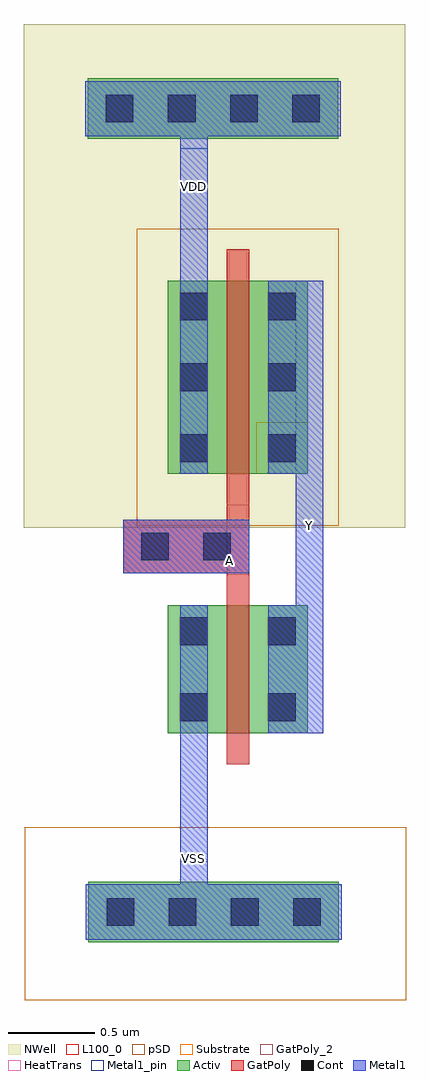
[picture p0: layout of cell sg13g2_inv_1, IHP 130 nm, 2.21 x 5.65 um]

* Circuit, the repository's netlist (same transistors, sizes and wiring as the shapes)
** sch_path: /opt/pdks/ihp-sg13g2/libs.tech/xschem/sg13g2_stdcells/sg13g2_inv_1.sch
.subckt sg13g2_inv_1 Y A VDD VSS

*.PININFO Y:O A:I VDD:B VSS:B
MN0 Y A VSS VSS sg13_lv_nmos w=740.00n l=130.00n ng=1 m=1
MP0 Y A VDD VDD sg13_lv_pmos w=1.12u l=130.00n ng=1 m=1
.ends

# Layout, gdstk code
import gdstk
lib = gdstk.Library(unit=1e-6, precision=1e-09)
def R(c, l, rs):  # rectangles x0, y0, x1, y1
    for r in rs: c.add(gdstk.rectangle(r[:2], r[2:], *l))
def A(c, l, x, y, w, h, nx, ny, dx, dy):  # array of equal rectangles
    R(c, l, [(x+i*dx, y+j*dy, x+i*dx+w, y+j*dy+h) for i in range(nx) for j in range(ny)])
Activ = (1, 0)
GatPoly = (5, 0)
GatPoly_2 = (5, 2)
Cont = (6, 0)
Metal1 = (8, 0)
Metal1_pin = (8, 2)
pSD = (14, 0)
NWell = (31, 0)
Substrate = (40, 0)
HeatTrans = (51, 0)
L100_0 = (100, 0)

pmos = lib.new_cell('pmos')
R(pmos, Activ, [(0,0,0.3,0.3), (0,0,0.81,1.12), (0.51,0,0.81,0.3)])
R(pmos, GatPoly, [(0.34,-0.18,0.47,1.3), (0.34,-0.18,0.47,1.3)])
A(pmos, Cont, 0.07, 0.07, 0.16, 0.16, 1, 3, 0, 0.41)
A(pmos, Cont, 0.58, 0.07, 0.16, 0.16, 1, 3, 0, 0.41)
R(pmos, Metal1, [(0.07,0,0.23,1.12), (0.07,0,0.23,1.12), (0.58,0,0.74,1.12), (0.58,0,0.74,1.12)])
R(pmos, pSD, [(-0.18,-0.3,0.99,1.42)])
R(pmos, NWell, [(-0.31,-0.31,1.12,1.43)])
R(pmos, Substrate, [(0.51,0,0.81,0.3)])
R(pmos, HeatTrans, [(0.34,-0.18,0.47,1.3)])
pmos.add(gdstk.Label('pmos', (0.405,0.56), layer=63, texttype=0))
pmos.add(gdstk.Label('pmos', (0.405,0.56), layer=51, texttype=0))

nmos = lib.new_cell('nmos')
R(nmos, Activ, [(0,0,0.3,0.3), (0,0,0.81,0.74), (0.51,0,0.81,0.3)])
R(nmos, GatPoly, [(0.34,-0.18,0.47,0.92)])
R(nmos, GatPoly_2, [(0.34,-0.18,0.47,0.92)])
R(nmos, Cont, [(0.07,0.07,0.23,0.23), (0.58,0.07,0.74,0.23), (0.07,0.51,0.23,0.67), (0.58,0.51,0.74,0.67)])
R(nmos, Metal1, [(0.07,0,0.23,0.74), (0.58,0,0.74,0.74)])
R(nmos, Metal1_pin, [(0.07,0,0.23,0.74), (0.58,0,0.74,0.74)])
R(nmos, HeatTrans, [(0.34,-0.18,0.47,0.92)])
nmos.add(gdstk.Label('nmos', (0.405,0.37), layer=63, texttype=0))
nmos.add(gdstk.Label('nmos', (0.405,0.37), layer=51, texttype=0))

sg13g2_inv_1 = lib.new_cell('sg13g2_inv_1')
A(sg13g2_inv_1, Activ, 0.54, -1.71, 0.37, 0.35, 4, 1, 0.36, 0)
A(sg13g2_inv_1, Activ, 0.535, 2.94, 0.37, 0.35, 4, 1, 0.36, 0)
R(sg13g2_inv_1, GatPoly, [(0.74,0.425,1.11,0.735), (1.1,0.425,1.47,0.735)])
R(sg13g2_inv_1, GatPoly_2, [(1.34,-0.68,1.47,2.3)])
A(sg13g2_inv_1, Cont, 0.645, -1.615, 0.16, 0.16, 4, 1, 0.36, 0)
A(sg13g2_inv_1, Cont, 0.64, 3.035, 0.16, 0.16, 4, 1, 0.36, 0)
R(sg13g2_inv_1, Cont, [(0.845,0.5,1.005,0.66), (1.205,0.5,1.365,0.66)])
A(sg13g2_inv_1, Metal1, 0.525, -1.695, 0.4, 0.32, 4, 1, 0.36, 0)
A(sg13g2_inv_1, Metal1, 0.52, 2.955, 0.4, 0.32, 4, 1, 0.36, 0)
R(sg13g2_inv_1, Metal1, [(1.74,-0.5,1.9,2.12), (0.74,0.425,1.11,0.735), (1.1,0.425,1.47,0.735), (1.07,2.88,1.23,3.275)])
R(sg13g2_inv_1, Metal1_pin, [(1.07,-1.245,1.23,0.24), (1.74,-0.5,1.9,2.12), (1.74,-0.5,1.9,2.12), (1.07,1,1.23,2.885)])
A(sg13g2_inv_1, pSD, 0.17, -2.045, 1.13, 1, 4, 1, 0.36, 0)
A(sg13g2_inv_1, NWell, 0.165, 2.605, 1.13, 1, 4, 1, 0.36, 0)
R(sg13g2_inv_1, NWell, [(0.165,0.69,2.375,3.605)])
R(sg13g2_inv_1, L100_0, [(1.069,-0.431,1.231,-0.269), (1.069,-0.431,1.231,-0.269), (1.579,-0.431,1.741,-0.269), (1.579,-0.431,1.741,-0.269), (1.069,0.009,1.231,0.171), (1.069,0.009,1.231,0.171), (1.579,0.009,1.741,0.171), (1.579,0.009,1.741,0.171), (1.069,1.069,1.231,1.231), (1.069,1.069,1.231,1.231), (1.579,1.069,1.741,1.231), (1.579,1.069,1.741,1.231), (1.069,1.479,1.231,1.641), (1.069,1.479,1.231,1.641), (1.579,1.479,1.741,1.641), (1.579,1.479,1.741,1.641), (1.069,1.889,1.231,2.051), (1.069,1.889,1.231,2.051), (1.579,1.889,1.741,2.051), (1.579,1.889,1.741,2.051)])
sg13g2_inv_1.add(gdstk.FlexPath([(1.15,-1.245),(1.15,-1.695)], 0.16, ends="flush", simple_path=True, layer=8, datatype=0))  # Metal1
sg13g2_inv_1.add(gdstk.FlexPath([(1.15,2.885),(1.15,2.12)], 0.16, ends="flush", simple_path=True, layer=8, datatype=0))  # Metal1
sg13g2_inv_1.add(gdstk.FlexPath([(1.15,-0.48),(1.15,-1.245)], 0.16, ends="flush", simple_path=True, layer=8, datatype=0))  # Metal1
sg13g2_inv_1.add(gdstk.FlexPath([(1.15,-0.48),(1.15,-1.245)], 0.16, ends="flush", simple_path=True, layer=8, datatype=0))  # Metal1
sg13g2_inv_1.add(gdstk.FlexPath([(1.405,0.42),(1.405,0.825)], 0.13, ends="flush", simple_path=True, layer=5, datatype=0))  # GatPoly
sg13g2_inv_1.add(gdstk.Reference(pmos, (1,1)))
sg13g2_inv_1.add(gdstk.Reference(nmos, (1,-0.5)))
sg13g2_inv_1.add(gdstk.Label('Y', (1.82,0.7), layer=8, texttype=2))
sg13g2_inv_1.add(gdstk.Label('VDD', (1.15,2.665), layer=8, texttype=2))
sg13g2_inv_1.add(gdstk.Label('VSS', (1.15,-1.225), layer=8, texttype=2))
sg13g2_inv_1.add(gdstk.Label('A', (1.355,0.5), layer=5, texttype=2))

lib.write_gds('sg13g2_inv_1.gds')
